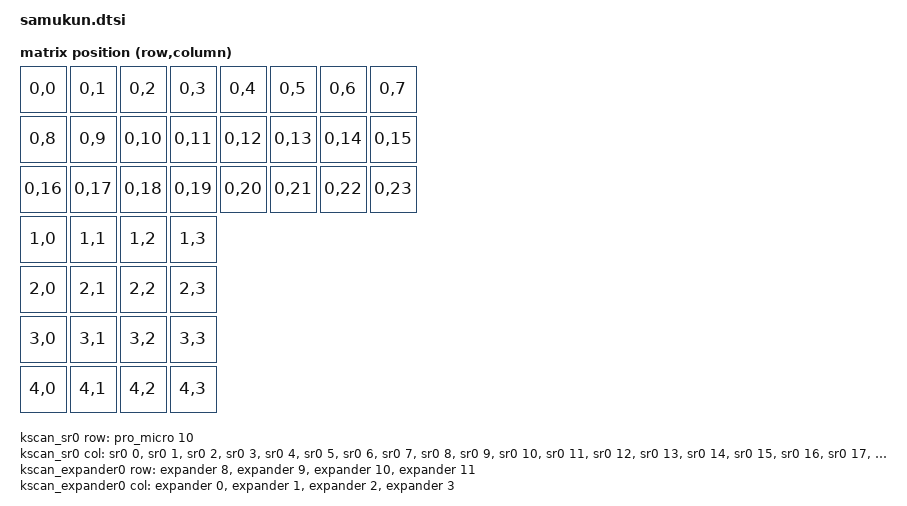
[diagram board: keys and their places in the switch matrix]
/*
 * Copyright (c) 2020 Pete Johanson
 *
 * SPDX-License-Identifier: MIT
 */

#include <dt-bindings/zmk/matrix_transform.h>

/ {
	chosen {
		zmk,kscan = &kscan0;
		zmk,matrix-transform = &default_transform;
	};

	// kscan0: kscan {
	// 	compatible = "zmk,kscan-blackout";
	// 	label = "KSCAN";
	// };

	kscan_sr0: kscan_sr0 {
		compatible = "zmk,kscan-gpio-matrix";
		label = "KSCAN_0";
		wakeup-source;
		diode-direction = "col2row";
		col-gpios
			= 
				//<&pro_micro 19 GPIO_ACTIVE_HIGH>

				<&sr0 0 GPIO_ACTIVE_HIGH>
			, <&sr0 1 GPIO_ACTIVE_HIGH>
			, <&sr0 2 GPIO_ACTIVE_HIGH>
			, <&sr0 3 GPIO_ACTIVE_HIGH>
			, <&sr0 4 GPIO_ACTIVE_HIGH>
			, <&sr0 5 GPIO_ACTIVE_HIGH>
			, <&sr0 6 GPIO_ACTIVE_HIGH>
			, <&sr0 7 GPIO_ACTIVE_HIGH>

			,	<&sr0 8 GPIO_ACTIVE_HIGH>
			, <&sr0 9 GPIO_ACTIVE_HIGH>
			, <&sr0 10 GPIO_ACTIVE_HIGH>
			, <&sr0 11 GPIO_ACTIVE_HIGH>
			, <&sr0 12 GPIO_ACTIVE_HIGH>
			, <&sr0 13 GPIO_ACTIVE_HIGH>
			, <&sr0 14 GPIO_ACTIVE_HIGH>
			, <&sr0 15 GPIO_ACTIVE_HIGH>

			,	<&sr0 16 GPIO_ACTIVE_HIGH>
			, <&sr0 17 GPIO_ACTIVE_HIGH>
			, <&sr0 18 GPIO_ACTIVE_HIGH>
			, <&sr0 19 GPIO_ACTIVE_HIGH>
			, <&sr0 20 GPIO_ACTIVE_HIGH>
			, <&sr0 21 GPIO_ACTIVE_HIGH>
			, <&sr0 22 GPIO_ACTIVE_HIGH>
			, <&sr0 23 GPIO_ACTIVE_HIGH>
			;
		row-gpios
			= <&pro_micro 10 (GPIO_ACTIVE_HIGH | GPIO_PULL_DOWN)>
			;
    wakeup-source;
	};

  kscan_expander0: kscan_expander0 {
    compatible = "zmk,kscan-gpio-matrix";
    label = "KSCAN_1";
    diode-direction = "col2row";
    col-gpios
      = <&expander 0 (GPIO_ACTIVE_LOW)>
      , <&expander 1 (GPIO_ACTIVE_LOW)>
      , <&expander 2 (GPIO_ACTIVE_LOW)>
      , <&expander 3 (GPIO_ACTIVE_LOW)>
      ;
    row-gpios
			= <&expander 8 (GPIO_ACTIVE_LOW | GPIO_PULL_UP)>
			, <&expander 9 (GPIO_ACTIVE_LOW | GPIO_PULL_UP)>
			, <&expander 10 (GPIO_ACTIVE_LOW | GPIO_PULL_UP)>
			, <&expander 11 (GPIO_ACTIVE_LOW | GPIO_PULL_UP)>
			;
    wakeup-source;
  };

  kscan0: kscan_composite {
    compatible = "zmk,kscan-composite";
    label = "KSCAN_COMPOSITE";

    columns = <24>;
    rows = <5>;
		
		// 595: 24c x 1r
    kscan_sr {
      kscan = <&kscan_sr0>;
    };

		// mcp23s17: 4c x 4r
    kscan_expander {
      kscan = <&kscan_expander0>;
      row-offset = <1>;
    };
  };

	default_transform: keymap_transform_0 {
		compatible = "zmk,matrix-transform";
		columns = <8>;
		rows = <1>;
		map = <
			RC(0,0) RC(0,1) RC(0,2) RC(0,3) RC(0,4) RC(0,5) RC(0,6) RC(0,7)
			RC(0,8) RC(0,9) RC(0,10) RC(0,11) RC(0,12) RC(0,13) RC(0,14) RC(0,15)
			RC(0,16) RC(0,17) RC(0,18) RC(0,19) RC(0,20) RC(0,21) RC(0,22) RC(0,23)
			RC(1,0) RC(1,1) RC(1,2) RC(1,3)
			RC(2,0) RC(2,1) RC(2,2) RC(2,3)
			RC(3,0) RC(3,1) RC(3,2) RC(3,3)
			RC(4,0) RC(4,1) RC(4,2) RC(4,3)
		>;
	};

};

// &adc {
// 	status = "okay";
// };

// / {
//     scroll_wheel: scroll_wheel {
//         compatible = "ploopy,optical-encoder";
//         status = "okay";
//         poll-period = <10>;
//         event-startup-delay = <1000>;
//         steps = <28>;
//         io-channels = <&adc 5>, <&adc 7>;
//     };

//     sensors: sensors {
//         compatible = "zmk,keymap-sensors";
//         sensors = <&scroll_wheel>;
//         triggers-per-rotation = <14>;
//     };
// };
